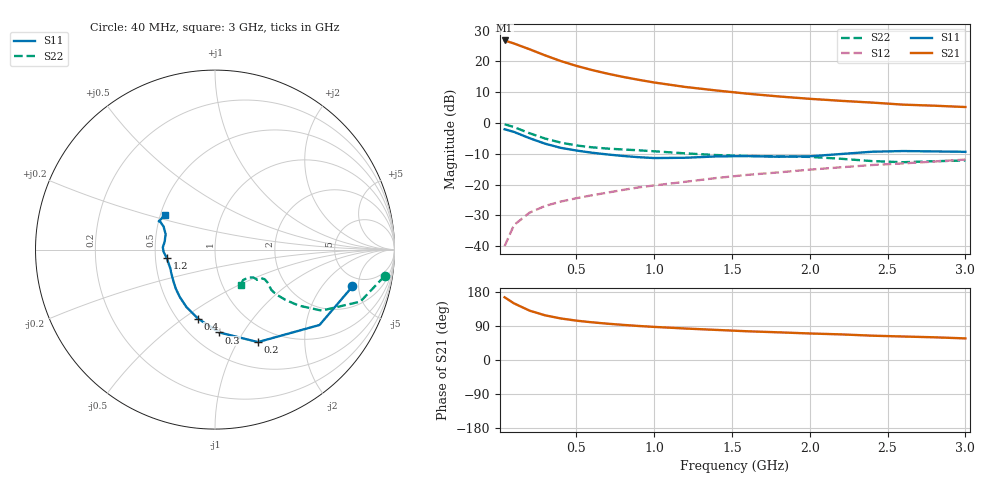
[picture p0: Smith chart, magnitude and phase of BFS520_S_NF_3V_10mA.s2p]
! Filename:  BFS520C.S2P  Version:  4.0
! Philips part #: BFS520  Date: Jun 1994
! Bias condition: Vce=3V, Ic=10mA
#  MHz  S  MA  R  50
! Freq  S11  S21  S12  S22  !GUM [dB]
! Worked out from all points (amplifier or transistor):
!   21 points, 40 MHz to 3 GHz, reference 50 ohm
!   highest |S21| = 26.8 dB at 40 MHz (marker M1)
!   |S21| within 3 dB of that: start of sweep to 207.3 MHz
!   unconditionally stable (mu >= 1): 846.1 MHz to end of sweep
!   at 300 MHz: K = 0.63, MSG = 24.5 dB, |S12| = -26.9 dB
!   at 1 GHz: K = 1.05, MAG = 15.3 dB, |S12| = -20.3 dB
!   at 3 GHz: K = 1.06, MAG = 7.1 dB, |S12| = -11.9 dB
!   lowest NFmin = 1.10 dB at 500 MHz
!   S11 on the Smith chart (normalised r, x): 40 MHz: 3.83, -4.24; 200 MHz: 0.80, -1.22; 300 MHz: 0.67, -0.79; 400 MHz: 0.63, -0.57; 1.2 GHz: 0.57, -0.06; 3 GHz: 0.53, +0.23
40  0.793 -15.0  21.96 165.5  0.01 82.3  0.956 -8.9
100  0.718 -35.8  19.61 149.5  0.022 71.5  0.86 -19.7
200  0.568 -65.1  15.81 130.3  0.035 62.8  0.684 -29.8
300  0.462 -87.1  12.58 117.9  0.045 60.1  0.56 -33.8
400  0.396 -103.8  10.18 109.7  0.053 60.5  0.482 -35.5
500  0.358 -116.3  8.508 103.9  0.06 61.5  0.433 -36.1
600  0.33 -126.2  7.279 99.5  0.067 62.8  0.404 -36.0
700  0.309 -134.8  6.354 95.8  0.074 64.3  0.385 -35.5
800  0.292 -142.3  5.624 92.7  0.082 65.7  0.372 -34.5
900  0.279 -149.9  5.046 89.8  0.09 66.5  0.361 -33.4
1000  0.27 -157.1  4.562 87.4  0.097 67.4  0.348 -32.2
1200  0.273 -169.9  3.86 83.1  0.111 68.8  0.322 -30.8
1400  0.287 -177.7  3.383 79.4  0.128 70.1  0.302 -31.8
1600  0.291 177.4  2.999 75.8  0.144 70.2  0.292 -34.8
1800  0.284 171.2  2.706 73.0  0.158 71.0  0.288 -35.8
2000  0.288 162.7  2.476 70.0  0.175 71.0  0.282 -35.5
2200  0.314 155.8  2.297 67.6  0.191 71.4  0.263 -36.1
2400  0.342 153.1  2.15 64.2  0.208 71.2  0.241 -40.3
2600  0.351 153.3  1.991 62.0  0.221 70.6  0.231 -47.4
2800  0.346 151.1  1.914 59.9  0.237 70.8  0.24 -52.2
3000  0.341 145.4  1.821 57.0  0.255 70.4  0.246 -53.9
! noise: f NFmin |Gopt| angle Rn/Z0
500  1.1  0.716  32  0.19
900  1.25  0.318  59  0.16
2000  1.9  0.257  -171  0.15
